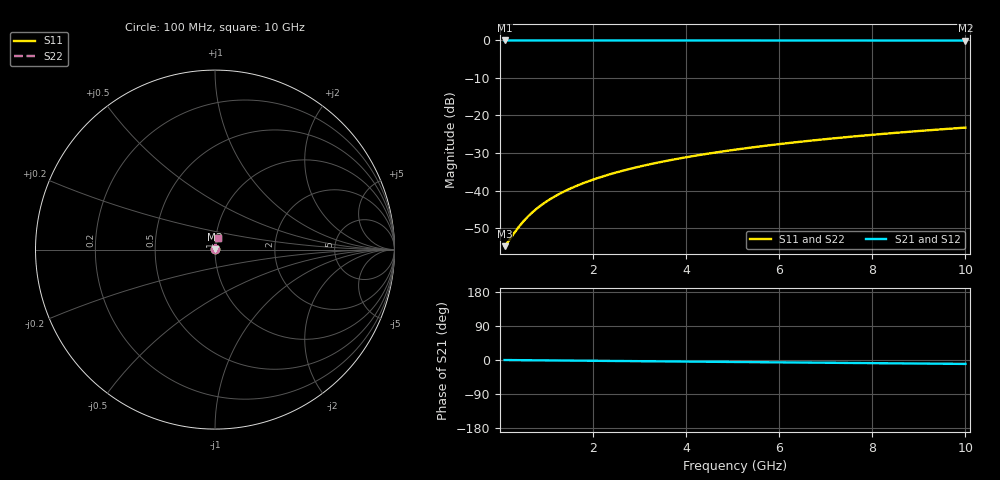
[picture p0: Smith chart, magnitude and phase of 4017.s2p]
# Hz S RI R 50.00
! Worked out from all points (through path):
!   100 points, 100 MHz to 10 GHz, reference 50 ohm
!   highest |S21| = -0.01 dB at 100 MHz (marker M1); lowest = 0.0 dB at 10 GHz (marker M2)
!   group delay of S21, straight-line fit = 2.87 ps
!   lowest |S11| = -54.8 dB at 100 MHz (marker M3), VSWR 1.00, Z = 50.2 + j0.0692 ohm
!   |S11| at or under -10 dB: start of sweep to end of sweep
!   |S22| runs from -54.8 to -23.2 dB; largest |S21 - S12| = 0
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1e8  0.00168 0.00069  0.9983 -0.0018  0.9983 -0.0018  0.00168 0.00069
2e8  0.00169 0.00138  0.9983 -0.0036  0.9983 -0.0036  0.00169 0.00138
3e8  0.0017 0.00207  0.9983 -0.0054  0.9983 -0.0054  0.0017 0.00207
4e8  0.00172 0.00276  0.9983 -0.00721  0.9983 -0.00721  0.00172 0.00276
5e8  0.00174 0.00345  0.9982 -0.00901  0.9982 -0.00901  0.00174 0.00345
6e8  0.00175 0.00414  0.9982 -0.0108  0.9982 -0.0108  0.00175 0.00414
7e8  0.00177 0.00483  0.9982 -0.0126  0.9982 -0.0126  0.00177 0.00483
8e8  0.0018 0.00551  0.9982 -0.0144  0.9982 -0.0144  0.0018 0.00551
1e9  0.00185 0.00689  0.9981 -0.018  0.9981 -0.018  0.00185 0.00689
1.2e9  0.00191 0.00827  0.998 -0.0216  0.998 -0.0216  0.00191 0.00827
1.5e9  0.00202 0.0103  0.9978 -0.027  0.9978 -0.027  0.00202 0.0103
1.8e9  0.00215 0.0124  0.9976 -0.0324  0.9976 -0.0324  0.00215 0.0124
2.1e9  0.0023 0.0145  0.9974 -0.0378  0.9974 -0.0378  0.0023 0.0145
2.5e9  0.00254 0.0172  0.9971 -0.045  0.9971 -0.045  0.00254 0.0172
2.9e9  0.00281 0.02  0.9966 -0.0522  0.9966 -0.0522  0.00281 0.02
3.4e9  0.00321 0.0234  0.996 -0.0612  0.996 -0.0612  0.00321 0.0234
4.2e9  0.00398 0.0288  0.9949 -0.0756  0.9949 -0.0756  0.00398 0.0288
5.1e9  0.00503 0.0349  0.9933 -0.0917  0.9933 -0.0917  0.00503 0.0349
5.9e9  0.00612 0.0403  0.9917 -0.106  0.9917 -0.106  0.00612 0.0403
6.7e9  0.00738 0.0457  0.9898 -0.1203  0.9898 -0.1203  0.00738 0.0457
8.4e9  0.0106 0.057  0.985 -0.1506  0.985 -0.1506  0.0106 0.057
1e10  0.0142 0.0674  0.9795 -0.1788  0.9795 -0.1788  0.0142 0.0674
